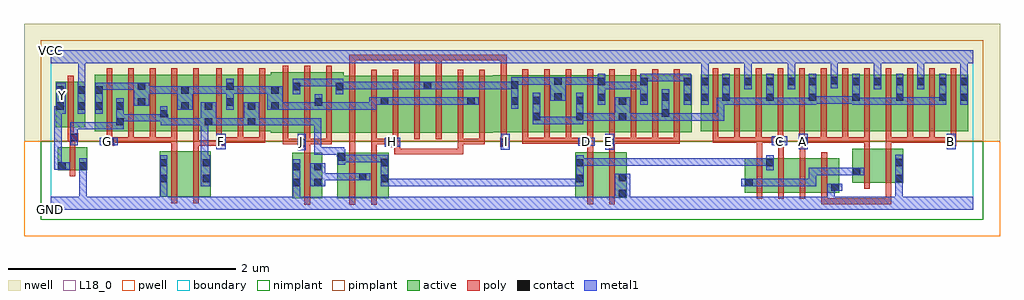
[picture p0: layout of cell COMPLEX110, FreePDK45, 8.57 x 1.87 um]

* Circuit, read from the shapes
.subckt COMPLEX110 A B C D E F G GND H I J VCC Y
M1 GND n1 Y VSUBS nfet w=0.2u l=0.05u
M2 n2 G GND VSUBS nfet w=0.4u l=0.05u
M3 n1 F n2 VSUBS nfet w=0.4u l=0.05u
M4 n3 J GND VSUBS nfet w=0.4u l=0.05u
M5 n3 I n1 VSUBS nfet w=0.4u l=0.05u
M6 n1 H n3 VSUBS nfet w=0.4u l=0.05u
M7 n4 D n1 VSUBS nfet w=0.4u l=0.05u
M8 GND E n4 VSUBS nfet w=0.4u l=0.05u
M9 n1 C n5 VSUBS nfet w=0.3u l=0.05u
M10 n6 C n1 VSUBS nfet w=0.3u l=0.05u
M11 n7 A n6 VSUBS nfet w=0.3u l=0.05u
M12 GND B n7 VSUBS nfet w=0.3u l=0.05u
M13 n8 A n5 VSUBS nfet w=0.3u l=0.05u
M14 GND B n8 VSUBS nfet w=0.3u l=0.05u
M15 VCC n1 Y n9 pfet w=0.4u l=0.05u
M16 n1 G n10 n9 pfet w=0.5u l=0.05u m=4
M17 n1 F n10 n9 pfet w=0.5u l=0.05u m=4
M18 n11 J n10 n9 pfet w=0.532u l=0.05u m=3
M19 n12 I n11 n9 pfet w=0.5u l=0.05u
M20 n10 H n12 n9 pfet w=0.5u l=0.05u
M21 n13 H n10 n9 pfet w=0.5u l=0.05u
M22 n11 I n13 n9 pfet w=0.5u l=0.05u
M23 n14 I n11 n9 pfet w=0.5u l=0.05u
M24 n10 H n14 n9 pfet w=0.5u l=0.05u
M25 n15 H n10 n9 pfet w=0.5u l=0.05u
M26 n11 I n15 n9 pfet w=0.5u l=0.05u
M27 n16 D n11 n9 pfet w=0.5u l=0.05u m=4
M28 n16 E n11 n9 pfet w=0.5u l=0.05u m=4
M29 n16 C VCC n9 pfet w=0.5u l=0.05u m=4
M30 n16 A VCC n9 pfet w=0.5u l=0.05u m=4
M31 n16 B VCC n9 pfet w=0.5u l=0.05u m=4
.ends

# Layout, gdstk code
import gdstk
lib = gdstk.Library(unit=1e-6, precision=1e-09)
def R(c, l, rs):  # rectangles x0, y0, x1, y1
    for r in rs: c.add(gdstk.rectangle(r[:2], r[2:], *l))
def A(c, l, x, y, w, h, nx, ny, dx, dy):  # array of equal rectangles
    R(c, l, [(x+i*dx, y+j*dy, x+i*dx+w, y+j*dy+h) for i in range(nx) for j in range(ny)])
active = (1, 0)
pwell = (2, 0)
nwell = (3, 0)
nimplant = (4, 0)
pimplant = (5, 0)
poly = (9, 0)
contact = (10, 0)
metal1 = (11, 0)
L18_0 = (18, 0)
boundary = (235, 0)

complex110 = lib.new_cell('COMPLEX110')
A(complex110, active, 2.742, 0.675, 0.225, 0.5, 3, 1, 0.38, 0)
A(complex110, active, 2.892, 0.675, 0.23, 0.5, 3, 1, 0.38, 0)
A(complex110, active, 4.037, 0.68, 0.265, 0.5, 4, 1, 0.19, 0)
A(complex110, active, 4.982, 0.68, 0.265, 0.5, 3, 1, 0.19, 0)
A(complex110, active, 6.652, 0.687, 0.265, 0.5, 3, 1, 0.19, 0)
R(complex110, active, [(2.122,0.1,2.197,0.5), (2.122,0.1,2.382,0.5), (2.517,0.1,2.777,0.5), (2.702,0.1,2.967,0.5), (4.607,0.105,4.832,0.505), (4.832,0.105,5.057,0.505), (4.982,0.105,5.057,0.505), (0.955,0.112,1.18,0.512), (1.18,0.112,1.405,0.512), (0.955,0.117,1.03,0.512), (1.33,0.147,1.405,0.512), (2.307,0.147,2.382,0.5), (2.517,0.147,2.592,0.5), (2.702,0.147,2.777,0.492), (2.892,0.147,2.967,0.5), (4.607,0.147,4.712,0.505), (6.092,0.15,6.352,0.45), (6.277,0.15,6.507,0.45), (6.507,0.15,6.697,0.45), (6.697,0.15,6.922,0.45), (6.847,0.16,6.922,0.45), (6.092,0.2,6.167,0.45), (7.037,0.237,7.262,0.537), (7.262,0.237,7.487,0.537), (7.412,0.237,7.487,0.537), (6.277,0.247,6.352,0.45), (7.037,0.247,7.112,0.537), (0.062,0.347,0.137,0.547), (0.062,0.347,0.322,0.547), (0.247,0.347,0.322,0.547), (1.932,0.675,2.197,1.207), (2.122,0.675,2.387,1.207), (2.312,0.675,2.572,1.207), (2.497,0.675,2.742,1.175), (2.497,0.675,2.572,1.2), (2.892,0.675,2.967,1.07), (3.272,0.675,3.347,1.175), (3.652,0.675,3.727,1.07), (3.882,0.68,4.112,1.18), (4.797,0.68,5.057,1.18), (5.552,0.68,5.627,1.175), (0.385,0.687,0.647,1.187), (0.385,0.687,0.46,1.157), (0.572,0.687,0.835,1.187), (0.572,0.687,0.647,1.07), (0.76,0.687,1.03,1.187), (0.76,0.687,0.835,1.157), (0.955,0.687,1.215,1.187), (0.955,0.687,1.03,1.07), (1.14,0.687,1.422,1.187), (1.14,0.687,1.215,1.157), (1.347,0.687,1.612,1.187), (1.347,0.687,1.422,1.07), (1.537,0.687,1.8,1.187), (1.537,0.687,1.612,1.157), (1.725,0.687,1.8,1.07), (1.725,0.687,2.007,1.187), (1.932,0.687,2.007,1.2), (4.227,0.687,4.302,1.07), (4.607,0.687,4.682,1.07), (4.982,0.687,5.057,1.07), (5.362,0.687,5.437,1.07), (5.707,0.687,5.782,1.187), (5.707,0.687,5.967,1.187), (5.892,0.687,6.16,1.187), (6.085,0.687,6.352,1.187), (6.277,0.687,6.54,1.187), (6.465,0.687,6.727,1.187), (7.222,0.687,7.492,1.187), (7.417,0.687,7.677,1.187), (7.602,0.687,7.87,1.187), (7.795,0.687,8.057,1.187), (7.982,0.687,8.057,1.187), (6.465,0.715,6.54,1.175), (0.045,0.722,0.12,1.122), (0.045,0.722,0.305,1.122), (0.23,0.722,0.305,1.122), (4.037,0.762,4.112,1.157), (2.122,0.775,2.197,1.2), (2.312,0.775,2.387,1.07), (4.797,0.802,4.872,1.167), (4.417,0.807,4.492,1.175), (5.172,0.807,5.247,1.165), (5.892,0.807,5.967,1.165), (6.085,0.807,6.16,1.175), (6.277,0.807,6.352,1.165), (6.652,0.807,6.727,1.175), (6.842,0.807,6.917,1.187), (7.032,0.807,7.107,1.167), (7.222,0.807,7.297,1.187), (7.417,0.807,7.492,1.187), (7.602,0.807,7.677,1.187), (7.795,0.807,7.87,1.165)])
R(complex110, pwell, [(-0.235,-0.235,8.335,0.602)])
R(complex110, nwell, [(-0.235,0.602,8.335,1.635)])
R(complex110, nimplant, [(-0.09,-0.09,8.19,0.602)])
R(complex110, pimplant, [(-0.09,0.602,8.19,1.49)])
A(complex110, poly, 6.197, 0.095, 0.05, 0.41, 4, 1, 0.19, 0)
A(complex110, poly, 2.037, 0.575, 0.05, 0.095, 3, 1, 0.19, 0)
A(complex110, poly, 2.622, 0.575, 0.05, 0.095, 3, 1, 0.19, 0)
A(complex110, poly, 3.952, 0.58, 0.05, 0.095, 9, 1, 0.19, 0)
A(complex110, poly, 4.902, 0.58, 0.24, 0.05, 3, 1, 0.19, 0)
A(complex110, poly, 0.49, 0.587, 0.05, 0.095, 4, 1, 0.19, 0)
A(complex110, poly, 1.452, 0.587, 0.05, 0.095, 3, 1, 0.19, 0)
A(complex110, poly, 5.812, 0.587, 0.05, 0.095, 12, 1, 0.19, 0)
A(complex110, poly, 7.142, 0.587, 0.05, 0.05, 3, 1, 0.19, 0)
A(complex110, poly, 2.037, 0.62, 0.05, 0.642, 3, 1, 0.19, 0)
A(complex110, poly, 2.622, 0.62, 0.05, 0.61, 7, 1, 0.19, 0)
A(complex110, poly, 3.952, 0.625, 0.05, 0.61, 9, 1, 0.19, 0)
A(complex110, poly, 0.49, 0.632, 0.05, 0.61, 5, 1, 0.19, 0)
A(complex110, poly, 1.452, 0.632, 0.05, 0.61, 3, 1, 0.19, 0)
A(complex110, poly, 5.812, 0.632, 0.05, 0.61, 12, 1, 0.19, 0)
R(complex110, poly, [(2.227,0.045,2.277,0.555), (2.622,0.045,2.672,0.555), (2.812,0.045,2.862,0.555), (4.712,0.05,4.762,0.56), (4.902,0.05,4.952,0.56), (6.767,0.05,6.817,0.145), (6.767,0.05,6.817,0.1), (6.767,0.05,6.817,0.1), (6.767,0.05,6.817,0.1), (6.767,0.05,6.95,0.1), (6.9,0.05,6.95,0.1), (6.9,0.05,7.25,0.1), (7.2,0.05,7.25,0.1), (7.2,0.05,7.25,0.1), (7.2,0.05,7.25,0.1), (7.2,0.05,7.382,0.1), (7.332,0.05,7.382,0.1), (7.332,0.05,7.382,0.1), (7.332,0.05,7.382,0.1), (7.332,0.05,7.382,0.232), (1.06,0.057,1.11,0.567), (1.25,0.057,1.3,0.567), (7.142,0.182,7.192,0.592), (7.332,0.182,7.382,0.592), (0.167,0.292,0.217,0.602), (6.197,0.455,6.247,0.637), (6.387,0.455,6.437,0.612), (6.577,0.455,6.627,0.612), (3.017,0.487,3.3,0.537), (3.017,0.487,3.067,0.6), (3.25,0.487,3.3,0.537), (3.25,0.487,3.3,0.537), (3.25,0.487,3.3,0.537), (3.25,0.487,3.432,0.537), (3.382,0.487,3.432,0.537), (3.382,0.487,3.432,0.537), (3.382,0.487,3.432,0.537), (3.382,0.487,3.622,0.537), (3.572,0.487,3.622,0.625), (2.227,0.505,2.277,0.6), (2.622,0.505,2.672,0.625), (2.812,0.505,2.862,0.625), (4.712,0.51,4.762,0.605), (4.902,0.51,4.952,0.605), (1.06,0.517,1.11,0.637), (1.25,0.517,1.3,0.612), (7.142,0.542,7.192,0.637), (7.332,0.542,7.382,0.637), (2.17,0.55,2.277,0.625), (2.962,0.55,3.052,0.625), (3.002,0.55,3.067,0.6), (0.167,0.552,0.217,0.647), (3.945,0.555,4.02,0.63), (4.67,0.555,4.762,0.63), (4.877,0.555,4.952,0.63), (0.482,0.562,0.557,0.637), (1.25,0.562,1.3,0.612), (1.25,0.562,1.3,0.682), (1.25,0.562,1.502,0.612), (1.452,0.562,1.527,0.637), (1.452,0.562,1.502,0.612), (1.452,0.562,1.502,0.612), (6.36,0.562,6.437,0.637), (6.572,0.562,6.647,0.637), (7.877,0.562,7.952,0.637), (2.037,0.575,2.087,0.625), (2.037,0.575,2.087,0.625), (2.037,0.575,2.087,0.625), (2.037,0.575,2.22,0.625), (2.227,0.575,2.467,0.625), (2.417,0.575,2.467,0.625), (2.417,0.575,2.467,0.625), (2.417,0.575,2.467,0.625), (2.622,0.575,2.672,0.625), (2.812,0.575,2.862,0.625), (2.812,0.575,2.862,0.625), (2.812,0.575,2.862,0.625), (2.812,0.575,3.012,0.625), (3.572,0.575,3.622,0.67), (3.572,0.575,3.812,0.625), (3.762,0.575,3.812,0.67), (3.762,0.575,3.812,0.625), (3.762,0.575,3.812,0.625), (3.762,0.575,3.812,0.625), (4.142,0.58,4.192,0.63), (4.142,0.58,4.382,0.63), (4.332,0.58,4.382,0.63), (4.332,0.58,4.382,0.63), (4.332,0.58,4.382,0.63), (4.332,0.58,4.572,0.63), (4.522,0.58,4.572,0.63), (4.522,0.58,4.572,0.63), (4.522,0.58,4.572,0.63), (4.522,0.58,4.72,0.63), (4.67,0.58,4.72,0.63), (4.67,0.58,4.72,0.63), (5.092,0.58,5.142,0.63), (5.092,0.58,5.142,0.63), (5.092,0.58,5.142,0.63), (5.282,0.58,5.332,0.63), (5.282,0.58,5.332,0.63), (5.282,0.58,5.332,0.63), (5.472,0.58,5.522,0.63), (5.472,0.58,5.522,0.63), (5.472,0.58,5.522,0.63), (0.507,0.587,0.73,0.637), (0.68,0.587,0.73,0.637), (0.68,0.587,0.73,0.637), (0.68,0.587,0.73,0.637), (0.68,0.587,0.92,0.637), (0.87,0.587,0.92,0.637), (0.87,0.587,0.92,0.637), (0.87,0.587,0.92,0.637), (0.87,0.587,1.11,0.637), (1.06,0.587,1.11,0.637), (1.06,0.587,1.11,0.637), (1.06,0.587,1.11,0.637), (1.477,0.587,1.692,0.637), (1.642,0.587,1.692,0.637), (1.642,0.587,1.692,0.637), (1.642,0.587,1.692,0.637), (1.642,0.587,1.882,0.637), (1.832,0.587,1.882,0.637), (1.832,0.587,1.882,0.637), (1.832,0.587,1.882,0.637), (5.812,0.587,5.862,0.637), (5.812,0.587,6.052,0.637), (6.002,0.587,6.052,0.637), (6.002,0.587,6.052,0.637), (6.002,0.587,6.052,0.637), (6.002,0.587,6.242,0.637), (6.192,0.587,6.242,0.637), (6.192,0.587,6.242,0.637), (6.192,0.587,6.247,0.637), (6.197,0.587,6.41,0.637), (6.36,0.587,6.41,0.637), (6.36,0.587,6.41,0.637), (6.597,0.587,6.647,0.637), (6.597,0.587,6.647,0.637), (6.597,0.587,6.812,0.637), (6.762,0.587,6.812,0.637), (6.762,0.587,7.002,0.637), (6.952,0.587,7.002,0.637), (6.952,0.587,7.002,0.637), (6.952,0.587,7.002,0.637), (6.952,0.587,7.192,0.637), (7.142,0.587,7.192,0.637), (7.142,0.587,7.192,0.637), (7.332,0.587,7.572,0.637), (7.522,0.587,7.572,0.637), (7.522,0.587,7.572,0.637), (7.522,0.587,7.762,0.637), (7.712,0.587,7.925,0.637), (7.712,0.587,7.762,0.637), (7.712,0.587,7.762,0.637), (7.712,0.587,7.762,0.637), (7.875,0.587,7.927,0.637), (7.875,0.587,7.925,0.637), (0.15,0.597,0.24,0.672), (0.15,0.622,0.2,0.717), (0.15,0.667,0.2,1.177), (2.622,1.18,2.672,1.362), (3.192,1.18,3.242,1.362), (3.382,1.18,3.432,1.362), (3.952,1.185,4.002,1.362), (2.622,1.312,2.672,1.362), (2.622,1.312,2.672,1.362), (2.622,1.312,2.672,1.362), (2.622,1.312,2.88,1.362), (2.83,1.312,2.88,1.362), (2.83,1.312,2.88,1.362), (2.83,1.312,2.88,1.362), (2.83,1.312,3.11,1.362), (3.06,1.312,3.11,1.362), (3.06,1.312,3.11,1.362), (3.06,1.312,3.11,1.362), (3.06,1.312,3.242,1.362), (3.192,1.312,3.242,1.362), (3.192,1.312,3.242,1.362), (3.192,1.312,3.242,1.362), (3.192,1.312,3.432,1.362), (3.382,1.312,3.432,1.362), (3.382,1.312,3.432,1.362), (3.382,1.312,3.432,1.362), (3.382,1.312,3.565,1.362), (3.515,1.312,3.565,1.362), (3.515,1.312,3.755,1.362), (3.705,1.312,3.755,1.362), (3.705,1.312,3.755,1.362), (3.705,1.312,3.755,1.362), (3.705,1.312,4.002,1.362), (3.952,1.312,4.002,1.362), (3.952,1.312,4.002,1.362), (3.952,1.312,4.002,1.362)])
R(complex110, contact, [(4.987,0.11,5.052,0.175), (6.852,0.165,6.917,0.23), (2.127,0.205,2.192,0.27), (2.312,0.205,2.377,0.27), (6.097,0.207,6.162,0.272), (0.96,0.24,1.025,0.305), (1.335,0.24,1.4,0.305), (4.612,0.24,4.677,0.305), (2.897,0.242,2.962,0.307), (7.417,0.242,7.482,0.307), (4.987,0.25,5.052,0.315), (2.707,0.257,2.772,0.322), (7.042,0.302,7.107,0.367), (2.127,0.345,2.192,0.41), (2.312,0.345,2.377,0.41), (0.067,0.352,0.132,0.417), (0.252,0.352,0.317,0.417), (0.96,0.38,1.025,0.445), (1.335,0.38,1.4,0.445), (4.612,0.38,4.677,0.445), (6.282,0.38,6.347,0.445), (2.897,0.382,2.962,0.447), (7.417,0.382,7.482,0.447), (2.522,0.43,2.587,0.495), (2.175,0.555,2.24,0.62), (2.967,0.555,3.032,0.62), (3.95,0.56,4.015,0.625), (4.675,0.56,4.74,0.625), (4.882,0.56,4.947,0.625), (0.487,0.567,0.552,0.632), (1.457,0.567,1.522,0.632), (6.367,0.567,6.432,0.632), (6.577,0.567,6.642,0.632), (7.882,0.567,7.947,0.632), (0.17,0.602,0.235,0.667), (0.577,0.74,0.642,0.805), (1.352,0.74,1.417,0.805), (1.73,0.74,1.795,0.805), (4.987,0.782,5.052,0.847), (4.232,0.785,4.297,0.85), (4.612,0.785,4.677,0.85), (0.96,0.81,1.025,0.875), (5.367,0.817,5.432,0.882), (0.05,0.877,0.115,0.942), (0.235,0.877,0.3,0.942), (0.39,0.877,0.455,0.942), (1.145,0.877,1.21,0.942), (1.937,0.877,2.002,0.942), (0.577,0.88,0.642,0.945), (1.352,0.88,1.417,0.945), (1.73,0.88,1.795,0.945), (0.765,0.912,0.83,0.977), (1.542,0.912,1.607,0.977), (2.317,0.912,2.382,0.977), (2.897,0.922,2.962,0.987), (3.657,0.922,3.722,0.987), (4.042,0.922,4.107,0.987), (4.987,0.922,5.052,0.987), (4.232,0.925,4.297,0.99), (4.612,0.925,4.677,0.99), (4.802,0.955,4.867,1.02), (5.177,0.955,5.242,1.02), (5.557,0.955,5.622,1.02), (5.712,0.955,5.777,1.02), (5.897,0.955,5.962,1.02), (6.282,0.955,6.347,1.02), (6.657,0.955,6.722,1.02), (7.037,0.955,7.102,1.02), (7.422,0.955,7.487,1.02), (7.8,0.955,7.865,1.02), (7.987,0.955,8.052,1.02), (4.422,0.957,4.487,1.022), (5.367,0.957,5.432,1.022), (0.05,1.017,0.115,1.082), (0.235,1.017,0.3,1.082), (0.39,1.017,0.455,1.082), (1.145,1.017,1.21,1.082), (1.937,1.017,2.002,1.082), (2.127,1.05,2.192,1.115), (2.502,1.05,2.567,1.115), (0.765,1.052,0.83,1.117), (1.542,1.052,1.607,1.117), (3.277,1.06,3.342,1.125), (4.042,1.062,4.107,1.127), (4.802,1.095,4.867,1.16), (5.177,1.095,5.242,1.16), (5.557,1.095,5.622,1.16), (5.712,1.095,5.777,1.16), (5.897,1.095,5.962,1.16), (6.09,1.095,6.155,1.16), (6.282,1.095,6.347,1.16), (6.47,1.095,6.535,1.16), (6.657,1.095,6.722,1.16), (7.037,1.095,7.102,1.16), (7.227,1.095,7.292,1.16), (7.422,1.095,7.487,1.16), (7.607,1.095,7.672,1.16), (7.8,1.095,7.865,1.16), (7.987,1.095,8.052,1.16), (4.422,1.097,4.487,1.162), (6.847,1.102,6.912,1.167)])
A(complex110, metal1, 2.347, 0.257, 0.065, 0.065, 3, 1, 0.155, 0)
A(complex110, metal1, 7.227, 1.13, 0.065, 0.22, 3, 1, 0.38, 0)
R(complex110, metal1, [(0,0,8.1,0.115), (0.252,0.05,0.317,0.382), (0.96,0.05,1.025,0.27), (2.127,0.05,2.192,0.235), (5.022,0.05,5.087,0.175), (6.817,0.05,6.882,0.23), (7.417,0.05,7.482,0.272), (4.952,0.11,5.087,0.315), (6.817,0.165,6.882,0.23), (6.817,0.165,6.882,0.23), (6.817,0.165,6.952,0.23), (2.127,0.17,2.192,0.445), (0.96,0.205,1.025,0.48), (1.317,0.205,1.4,0.48), (2.277,0.205,2.412,0.41), (4.612,0.205,4.68,0.48), (2.897,0.207,2.962,0.482), (2.897,0.207,3.17,0.272), (3.105,0.207,3.17,0.272), (3.105,0.207,3.17,0.272), (3.105,0.207,3.17,0.272), (3.105,0.207,3.377,0.272), (3.312,0.207,3.377,0.272), (3.312,0.207,3.377,0.272), (3.312,0.207,3.377,0.272), (3.312,0.207,3.515,0.272), (3.45,0.207,3.515,0.272), (3.45,0.207,3.515,0.272), (3.45,0.207,3.515,0.272), (3.45,0.207,3.652,0.272), (3.587,0.207,3.652,0.272), (3.587,0.207,3.832,0.272), (3.767,0.207,3.832,0.272), (3.767,0.207,3.832,0.272), (3.767,0.207,3.832,0.272), (3.767,0.207,3.97,0.272), (3.905,0.207,3.97,0.272), (3.905,0.207,3.97,0.272), (3.905,0.207,3.97,0.272), (3.905,0.207,4.16,0.272), (4.095,0.207,4.16,0.272), (4.095,0.207,4.16,0.272), (4.095,0.207,4.16,0.272), (4.095,0.207,4.315,0.272), (4.25,0.207,4.315,0.272), (4.25,0.207,4.315,0.272), (4.25,0.207,4.315,0.272), (4.25,0.207,4.54,0.272), (4.475,0.207,4.54,0.272), (4.475,0.207,4.54,0.272), (4.475,0.207,4.54,0.272), (4.475,0.207,4.677,0.272), (6.062,0.207,6.197,0.272), (6.132,0.207,6.197,0.272), (6.132,0.207,6.197,0.272), (6.132,0.207,6.397,0.272), (6.332,0.207,6.397,0.272), (6.332,0.207,6.397,0.272), (6.332,0.207,6.397,0.272), (6.332,0.207,6.585,0.272), (6.52,0.207,6.585,0.272), (6.52,0.207,6.722,0.272), (6.657,0.207,6.722,0.317), (7.417,0.207,7.482,0.272), (7.417,0.207,7.482,0.272), (7.417,0.207,7.482,0.482), (6.657,0.252,6.722,0.317), (6.657,0.252,6.722,0.367), (2.347,0.257,2.412,0.322), (2.347,0.257,2.567,0.322), (2.502,0.257,2.722,0.322), (2.657,0.257,2.737,0.322), (2.672,0.257,2.807,0.322), (6.657,0.302,6.935,0.367), (6.87,0.302,6.935,0.367), (6.87,0.302,6.935,0.367), (6.87,0.302,6.935,0.367), (6.87,0.302,7.072,0.367), (7.007,0.302,7.072,0.367), (7.007,0.302,7.072,0.367), (7.007,0.302,7.142,0.367), (0.252,0.317,0.317,0.382), (0.252,0.317,0.317,0.382), (0.252,0.317,0.317,0.382), (0.252,0.317,0.317,0.382), (0.252,0.317,0.317,0.452), (6.282,0.345,6.347,0.48), (0.032,0.352,0.097,0.417), (0.032,0.352,0.097,0.417), (0.032,0.352,0.167,0.417), (0.032,0.352,0.097,0.907), (4.615,0.387,4.68,0.452), (4.615,0.387,4.68,0.452), (4.615,0.387,4.88,0.452), (4.815,0.387,4.88,0.452), (4.815,0.387,5.087,0.452), (5.022,0.387,5.087,0.452), (5.022,0.387,5.087,0.452), (5.022,0.387,5.087,0.452), (5.022,0.387,5.225,0.452), (5.16,0.387,5.225,0.452), (5.16,0.387,5.225,0.452), (5.16,0.387,5.225,0.452), (5.16,0.387,5.472,0.452), (5.407,0.387,5.472,0.452), (5.407,0.387,5.472,0.452), (5.407,0.387,5.472,0.452), (5.407,0.387,5.61,0.452), (5.545,0.387,5.61,0.452), (5.545,0.387,5.747,0.452), (5.682,0.387,5.747,0.452), (5.682,0.387,5.747,0.452), (5.682,0.387,5.747,0.452), (5.682,0.387,5.885,0.452), (5.82,0.387,5.885,0.452), (5.82,0.387,5.885,0.452), (5.82,0.387,5.885,0.452), (5.82,0.387,6.052,0.452), (5.987,0.387,6.052,0.452), (5.987,0.387,6.205,0.452), (6.14,0.387,6.205,0.452), (6.14,0.387,6.205,0.452), (6.14,0.387,6.205,0.452), (6.14,0.387,6.347,0.452), (2.522,0.395,2.587,0.53), (1.317,0.415,1.382,0.805), (2.522,0.417,2.722,0.482), (2.657,0.417,2.722,0.482), (2.657,0.417,2.725,0.482), (2.66,0.417,2.725,0.482), (2.66,0.417,2.86,0.482), (2.795,0.417,2.86,0.482), (2.795,0.417,2.962,0.482), (2.51,0.465,2.587,0.53), (2.51,0.465,2.575,0.547), (2.312,0.482,2.377,0.547), (2.312,0.482,2.377,0.547), (2.312,0.482,2.377,0.547), (2.312,0.482,2.575,0.547), (2.312,0.482,2.377,0.805), (2.167,0.52,2.24,0.667), (3.95,0.525,4.032,0.667), (4.867,0.525,4.947,0.667), (1.455,0.532,1.535,0.667), (6.567,0.532,6.647,0.667), (7.867,0.532,7.947,0.667), (2.932,0.555,3.067,0.632), (4.632,0.56,4.775,0.632), (0.17,0.567,0.235,0.702), (0.432,0.567,0.587,0.632), (6.332,0.567,6.467,0.645), (0.17,0.637,0.235,0.702), (0.17,0.637,0.235,0.702), (0.17,0.637,0.235,0.77), (0.17,0.705,0.235,0.77), (0.17,0.705,0.492,0.77), (0.427,0.705,0.492,0.77), (0.427,0.705,0.492,0.77), (0.427,0.705,0.492,0.77), (0.427,0.705,0.642,0.77), (0.577,0.705,0.642,0.98), (0.967,0.74,1.245,0.805), (0.967,0.74,1.032,0.84), (1.18,0.74,1.245,0.805), (1.18,0.74,1.245,0.805), (1.18,0.74,1.245,0.805), (1.18,0.74,1.382,0.805), (1.317,0.74,1.382,0.805), (1.317,0.74,1.382,0.805), (1.317,0.74,1.452,0.945), (1.387,0.74,1.452,0.805), (1.387,0.74,1.452,0.805), (1.387,0.74,1.607,0.805), (1.542,0.74,1.607,0.805), (1.542,0.74,1.692,0.805), (1.627,0.74,1.692,0.805), (1.627,0.74,1.76,0.805), (1.695,0.74,1.83,0.945), (1.765,0.74,1.83,0.805), (1.765,0.74,1.83,0.805), (1.765,0.74,2.037,0.805), (1.972,0.74,2.037,0.805), (1.972,0.74,2.037,0.805), (1.972,0.74,2.037,0.805), (1.972,0.74,2.177,0.805), (2.112,0.74,2.177,0.805), (2.112,0.74,2.177,0.805), (2.112,0.74,2.177,0.805), (2.112,0.74,2.377,0.805), (2.312,0.74,2.377,0.805), (4.232,0.75,4.297,0.815), (4.232,0.75,4.297,0.815), (4.232,0.75,4.297,1.025), (4.232,0.75,4.525,0.815), (4.46,0.75,4.525,0.815), (4.46,0.75,4.525,0.815), (4.46,0.75,4.525,0.815), (4.46,0.75,4.677,0.815), (4.612,0.75,4.677,1.025), (0.577,0.775,0.642,0.84), (0.577,0.775,0.642,0.84), (0.577,0.775,0.887,0.84), (0.822,0.775,0.887,0.84), (0.822,0.775,0.887,0.84), (0.822,0.775,0.887,0.84), (0.822,0.775,1.025,0.84), (0.96,0.775,1.025,0.91), (0.96,0.775,1.032,0.84), (4.612,0.782,4.677,0.847), (4.612,0.782,4.677,0.847), (4.612,0.782,4.88,0.847), (4.815,0.782,4.88,0.847), (4.815,0.782,5.017,0.847), (4.952,0.782,5.017,0.847), (4.952,0.782,5.017,0.847), (4.952,0.782,5.087,0.987), (5.022,0.782,5.267,0.847), (5.202,0.782,5.267,0.847), (5.202,0.782,5.267,0.847), (5.202,0.782,5.267,0.847), (5.202,0.782,5.405,0.847), (5.34,0.782,5.405,0.847), (5.34,0.782,5.432,0.847), (5.367,0.782,5.432,1.057), (5.367,0.782,5.61,0.847), (5.545,0.782,5.61,0.847), (5.545,0.782,5.747,0.847), (5.682,0.782,5.747,0.847), (5.682,0.782,5.747,0.847), (5.682,0.782,5.747,0.847), (5.682,0.782,5.915,0.847), (5.85,0.782,5.915,0.985), (0.032,0.842,0.097,0.907), (0.032,0.842,0.097,0.907), (0.032,0.842,0.115,0.907), (0.05,0.842,0.115,0.907), (0.05,0.842,0.132,1.117), (0.235,0.842,0.305,1.117), (0.39,0.842,0.455,1.117), (1.11,0.877,1.245,1.082), (1.542,0.877,1.607,1.152), (1.902,0.877,2.037,1.082), (1.972,0.877,2.037,0.942), (1.972,0.877,2.037,0.942), (1.972,0.877,2.175,0.942), (2.11,0.877,2.175,0.942), (2.11,0.877,2.175,0.942), (2.11,0.877,2.175,0.942), (2.11,0.877,2.382,0.942), (2.317,0.877,2.382,0.942), (2.317,0.877,2.382,0.942), (2.317,0.877,2.382,1.012), (2.317,0.877,2.567,0.942), (2.502,0.877,2.567,0.942), (2.502,0.877,2.722,0.942), (2.657,0.877,2.722,0.942), (2.657,0.877,2.725,0.942), (2.66,0.877,2.725,0.942), (2.66,0.877,2.86,0.942), (2.795,0.877,2.86,0.987), (4.042,0.887,4.107,1.162), (0.73,0.912,0.865,1.117), (4.802,0.92,4.867,1.195), (5.177,0.92,5.242,1.195), (5.557,0.92,5.622,1.195), (5.712,0.92,5.777,1.195), (5.85,0.92,5.962,0.985), (5.897,0.92,5.962,1.195), (5.897,0.92,6.052,0.985), (5.987,0.92,6.052,0.985), (5.987,0.92,6.1,0.985), (6.035,0.92,6.1,0.985), (6.035,0.92,6.212,0.985), (6.147,0.92,6.212,0.985), (6.147,0.92,6.347,0.985), (6.282,0.92,6.347,1.195), (6.282,0.92,6.35,0.985), (6.285,0.92,6.35,0.985), (6.285,0.92,6.585,0.985), (6.52,0.92,6.585,0.985), (6.52,0.92,6.722,0.985), (6.657,0.92,6.722,0.985), (6.657,0.92,6.722,0.985), (6.657,0.92,6.722,1.195), (7.037,0.92,7.102,1.195), (7.037,0.92,7.24,0.985), (7.175,0.92,7.24,0.985), (7.175,0.92,7.24,0.985), (7.175,0.92,7.24,0.985), (7.175,0.92,7.377,0.985), (7.312,0.92,7.377,0.985), (7.312,0.92,7.487,0.985), (7.422,0.92,7.487,1.195), (7.8,0.92,7.865,1.195), (7.987,0.92,8.052,1.195), (2.795,0.922,2.927,0.987), (2.862,0.922,2.997,0.987), (2.932,0.922,2.997,0.987), (2.932,0.922,2.997,0.987), (2.932,0.922,3.135,0.987), (3.07,0.922,3.135,0.987), (3.07,0.922,3.307,0.987), (3.242,0.922,3.307,0.987), (3.242,0.922,3.307,0.987), (3.242,0.922,3.307,0.987), (3.242,0.922,3.515,0.987), (3.45,0.922,3.515,0.987), (3.45,0.922,3.515,0.987), (3.45,0.922,3.515,0.987), (3.45,0.922,3.687,0.987), (3.622,0.922,3.687,0.987), (3.622,0.922,3.687,0.987), (3.622,0.922,3.757,0.987), (7.422,0.922,7.515,0.987), (7.45,0.922,7.515,0.987), (7.45,0.922,7.652,0.987), (7.587,0.922,7.652,0.987), (7.587,0.922,7.652,0.987), (7.587,0.922,7.652,0.987), (7.587,0.922,7.865,0.987), (6.657,0.93,6.935,0.995), (6.87,0.93,6.935,0.995), (6.87,0.93,6.935,0.995), (6.87,0.93,6.935,0.995), (6.87,0.93,7.102,0.995), (7.037,0.93,7.102,0.995), (7.037,0.93,7.102,0.995), (4.387,0.957,4.522,1.162), (2.127,1.015,2.192,1.15), (2.502,1.015,2.567,1.15), (0.8,1.017,0.865,1.082), (0.8,1.017,0.865,1.082), (0.8,1.017,1.025,1.082), (0.96,1.017,1.025,1.082), (0.96,1.017,1.025,1.082), (0.96,1.017,1.025,1.082), (0.96,1.017,1.175,1.082), (1.18,1.017,1.245,1.082), (1.18,1.017,1.245,1.082), (1.18,1.017,1.47,1.082), (1.405,1.017,1.47,1.082), (1.405,1.017,1.47,1.082), (1.405,1.017,1.47,1.082), (1.405,1.017,1.607,1.082), (1.542,1.017,1.62,1.082), (1.555,1.017,1.62,1.082), (1.555,1.017,1.83,1.082), (1.765,1.017,1.83,1.082), (1.765,1.017,1.83,1.082), (1.765,1.017,1.83,1.082), (1.765,1.017,1.967,1.082), (0.24,1.052,0.305,1.35), (0.39,1.052,0.455,1.117), (0.39,1.052,0.455,1.117), (0.39,1.052,0.657,1.117), (0.592,1.052,0.657,1.117), (0.592,1.052,0.657,1.117), (0.592,1.052,0.657,1.117), (0.592,1.052,0.795,1.117), (2.502,1.06,2.722,1.125), (2.657,1.06,2.722,1.125), (2.657,1.06,2.725,1.125), (2.66,1.06,2.725,1.125), (2.66,1.06,2.86,1.125), (2.795,1.06,2.86,1.125), (2.795,1.06,2.997,1.125), (2.932,1.06,2.997,1.125), (2.932,1.06,2.997,1.125), (2.932,1.06,2.997,1.125), (2.932,1.06,3.17,1.125), (3.105,1.06,3.17,1.125), (3.105,1.06,3.307,1.125), (3.242,1.06,3.307,1.125), (3.242,1.06,3.307,1.125), (3.242,1.06,3.377,1.125), (3.312,1.06,3.515,1.125), (3.45,1.06,3.515,1.125), (3.45,1.06,3.515,1.125), (3.45,1.06,3.515,1.125), (3.45,1.06,3.652,1.125), (3.587,1.06,3.652,1.125), (3.587,1.06,3.832,1.125), (3.767,1.06,3.832,1.125), (3.767,1.06,3.832,1.125), (3.767,1.06,3.832,1.125), (3.767,1.06,3.97,1.125), (3.905,1.06,3.97,1.125), (3.905,1.06,3.97,1.125), (3.905,1.06,3.97,1.125), (3.905,1.06,4.107,1.125), (4.802,1.06,4.867,1.125), (4.802,1.06,4.867,1.125), (4.802,1.06,5.017,1.125), (4.952,1.06,5.017,1.125), (4.952,1.06,5.242,1.125), (5.177,1.06,5.242,1.125), (5.177,1.06,5.242,1.125), (6.09,1.06,6.155,1.195), (6.47,1.06,6.535,1.195), (7.227,1.06,7.292,1.195), (7.607,1.06,7.672,1.195), (6.847,1.067,6.912,1.202), (2.127,1.085,2.192,1.15), (2.127,1.085,2.192,1.15), (2.127,1.085,2.33,1.15), (2.265,1.085,2.33,1.15), (2.265,1.085,2.55,1.15), (2.485,1.085,2.55,1.15), (2.485,1.085,2.567,1.15), (4.042,1.097,4.107,1.162), (4.042,1.097,4.107,1.162), (4.042,1.097,4.315,1.162), (4.25,1.097,4.315,1.162), (4.25,1.097,4.315,1.162), (4.25,1.097,4.315,1.162), (4.25,1.097,4.452,1.162), (4.457,1.097,4.522,1.162), (4.457,1.097,4.522,1.162), (4.457,1.097,4.72,1.162), (4.655,1.097,4.72,1.162), (4.655,1.097,4.72,1.162), (4.655,1.097,4.72,1.162), (4.655,1.097,4.867,1.162), (5.177,1.13,5.472,1.195), (5.407,1.13,5.472,1.195), (5.407,1.13,5.472,1.195), (5.407,1.13,5.472,1.195), (5.407,1.13,5.61,1.195), (5.545,1.13,5.61,1.195), (5.545,1.13,5.622,1.195), (5.712,1.13,5.777,1.35), (5.712,1.13,5.777,1.195), (5.712,1.13,5.777,1.195), (6.09,1.13,6.155,1.35), (6.47,1.13,6.535,1.35), (6.847,1.137,6.912,1.35), (0,1.285,8.1,1.4), (0.24,1.285,0.305,1.35), (0.24,1.285,0.305,1.35), (6.09,1.285,6.155,1.35), (6.09,1.285,6.155,1.35), (6.47,1.285,6.535,1.35), (6.47,1.285,6.535,1.35), (6.847,1.285,6.912,1.35), (6.847,1.285,6.912,1.35), (7.227,1.285,7.292,1.35), (7.227,1.285,7.292,1.35), (7.607,1.285,7.672,1.35), (7.607,1.285,7.672,1.35), (7.987,1.285,8.052,1.35), (7.987,1.285,8.052,1.35)])
A(complex110, L18_0, 7.227, 1.13, 0.065, 0.22, 3, 1, 0.38, 0)
R(complex110, L18_0, [(0,0,8.1,0.115), (0.252,0.05,0.317,0.382), (0.96,0.05,1.025,0.27), (2.127,0.05,2.192,0.235), (5.022,0.05,5.087,0.175), (6.817,0.05,6.882,0.23), (7.417,0.05,7.482,0.272), (4.952,0.11,5.087,0.315), (6.817,0.165,6.952,0.23), (6.817,0.165,6.882,0.23), (6.817,0.165,6.882,0.23), (2.127,0.17,2.192,0.445), (0.96,0.205,1.025,0.48), (7.417,0.207,7.482,0.272), (7.417,0.207,7.482,0.272), (7.417,0.207,7.482,0.482), (0.252,0.317,0.317,0.382), (0.252,0.317,0.317,0.382), (0.252,0.317,0.317,0.382), (0.252,0.317,0.317,0.382), (0.252,0.317,0.317,0.452), (0.032,0.352,0.167,0.417), (0.032,0.352,0.097,0.417), (0.032,0.352,0.097,0.417), (0.032,0.352,0.097,0.907), (2.167,0.52,2.24,0.667), (3.95,0.525,4.032,0.667), (4.867,0.525,4.947,0.667), (1.455,0.532,1.535,0.667), (6.567,0.532,6.647,0.667), (7.867,0.532,7.947,0.667), (2.932,0.555,3.067,0.632), (4.632,0.56,4.775,0.632), (0.432,0.567,0.587,0.632), (0.467,0.567,0.532,0.632), (1.467,0.567,1.532,0.632), (2.167,0.567,2.232,0.632), (2.967,0.567,3.032,0.632), (3.967,0.567,4.032,0.632), (4.667,0.567,4.732,0.632), (4.867,0.567,4.932,0.632), (6.332,0.567,6.467,0.645), (6.367,0.567,6.432,0.632), (6.567,0.567,6.632,0.632), (7.867,0.567,7.932,0.632), (0.032,0.842,0.097,0.907), (0.032,0.842,0.097,0.907), (0.032,0.842,0.115,0.907), (0.05,0.842,0.115,0.907), (0.05,0.842,0.132,1.117), (0.235,0.842,0.305,1.117), (5.712,0.92,5.777,1.195), (7.987,0.92,8.052,1.195), (0.067,0.967,0.132,1.032), (0.24,1.052,0.305,1.35), (6.09,1.06,6.155,1.195), (6.47,1.06,6.535,1.195), (7.227,1.06,7.292,1.195), (7.607,1.06,7.672,1.195), (6.847,1.067,6.912,1.202), (5.712,1.13,5.777,1.195), (5.712,1.13,5.777,1.195), (5.712,1.13,5.777,1.35), (6.09,1.13,6.155,1.35), (6.47,1.13,6.535,1.35), (6.847,1.137,6.912,1.35), (0,1.285,8.1,1.4), (0.24,1.285,0.305,1.35), (0.24,1.285,0.305,1.35), (6.09,1.285,6.155,1.35), (6.09,1.285,6.155,1.35), (6.47,1.285,6.535,1.35), (6.47,1.285,6.535,1.35), (6.847,1.285,6.912,1.35), (6.847,1.285,6.912,1.35), (7.227,1.285,7.292,1.35), (7.227,1.285,7.292,1.35), (7.607,1.285,7.672,1.35), (7.607,1.285,7.672,1.35), (7.987,1.285,8.052,1.35), (7.987,1.285,8.052,1.35)])
R(complex110, boundary, [(0,0,8.1,1.4)])
complex110.add(gdstk.Label('A', (6.6,0.6), layer=11, texttype=0))
complex110.add(gdstk.Label('B', (7.9,0.6), layer=11, texttype=0))
complex110.add(gdstk.Label('C', (6.4,0.6), layer=11, texttype=0))
complex110.add(gdstk.Label('D', (4.7,0.6), layer=11, texttype=0))
complex110.add(gdstk.Label('E', (4.9,0.6), layer=11, texttype=0))
complex110.add(gdstk.Label('F', (1.5,0.6), layer=11, texttype=0))
complex110.add(gdstk.Label('G', (0.5,0.6), layer=11, texttype=0))
complex110.add(gdstk.Label('H', (3,0.6), layer=11, texttype=0))
complex110.add(gdstk.Label('I', (4,0.6), layer=11, texttype=0))
complex110.add(gdstk.Label('J', (2.2,0.6), layer=11, texttype=0))
complex110.add(gdstk.Label('Y', (0.1,1), layer=11, texttype=0))
complex110.add(gdstk.Label('VCC', (0,1.4), layer=11, texttype=0))
complex110.add(gdstk.Label('GND', (0,0), layer=11, texttype=0))

lib.write_gds('COMPLEX110.gds')
